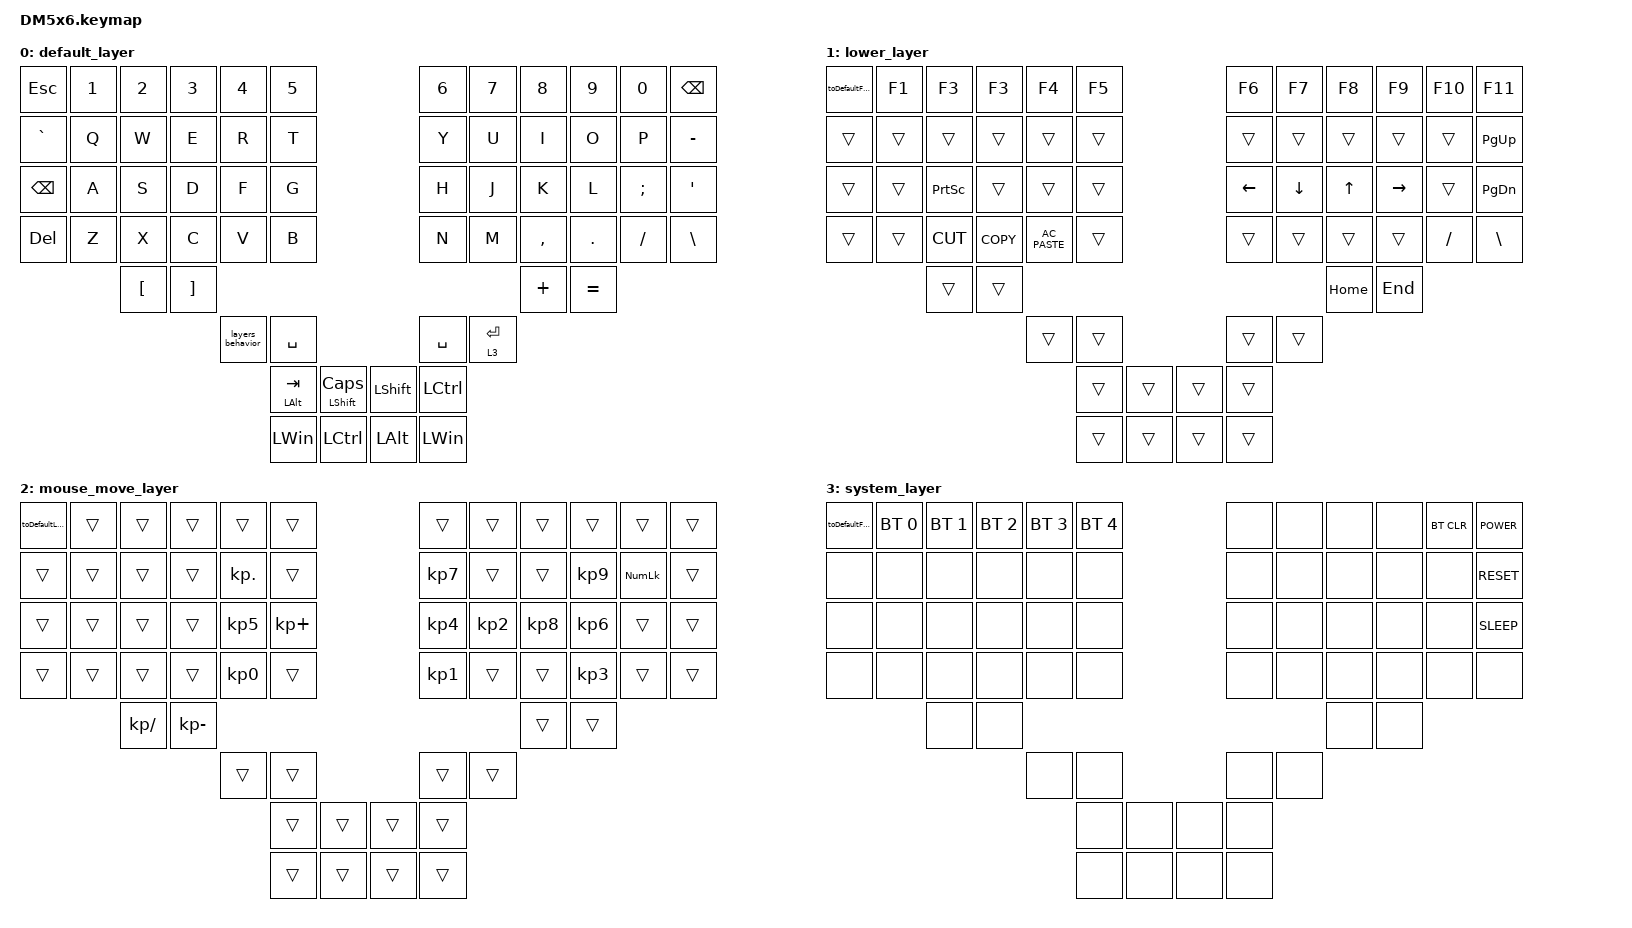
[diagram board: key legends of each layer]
#include <behaviors.dtsi>
#include <dt-bindings/zmk/bt.h>
#include <dt-bindings/zmk/keys.h>

#define DEFAULT 0
#define LWR 1
#define RSE 2
#define ADJ 3

/ {
    conditional_layers { compatible = "zmk,conditional-layers"; };

    behaviors {
        layers_behavior: layers_behavior {
            compatible = "zmk,behavior-tap-dance";
            label = "LAYERS_BEHAVIOR";
            #binding-cells = <0>;
            bindings = <&tog 1>, <&tog 2>;
        };

        delBackspace_behavior: delBackspace_behavior {
            compatible = "zmk,behavior-mod-morph";
            label = "DELBACKSPACE_BEHAVIOR";
            bindings = <&kp DEL>, <&kp BACKSPACE>;

            #binding-cells = <0>;
            mods = <(MOD_LSFT)>;
        };

        toDefaultFromLowerLayer: toDefaultFromLowerLayer {
            compatible = "zmk,behavior-tap-dance";
            label = "TODEFAULTFROMLOWERLAYER";
            #binding-cells = <0>;
            bindings = <&kp F12>, <&to 0>;
        };

        toDefaultLayer: toDefaultLayer {
            compatible = "zmk,behavior-tap-dance";
            label = "TODEFAULTLAYER";
            #binding-cells = <0>;
            bindings = <&none>, <&to 0>;
        };

        toDefaultFromSystemLayer: toDefaultFromSystemLayer {
            compatible = "zmk,behavior-tap-dance";
            label = "TODEFAULTFROMSYSTEMLAYER";
            #binding-cells = <0>;
            bindings = <&bt BT_CLR>, <&to 0>;
        };
    };

    keymap {
        compatible = "zmk,keymap";

        default_layer {
            bindings = <
&kp ESC        &kp N1  &kp N2    &kp N3    &kp N4            &kp N5                                             &kp N6        &kp N7       &kp N8     &kp N9     &kp N0    &kp BSPC
&kp GRAVE      &kp Q   &kp W     &kp E     &kp R             &kp T                                              &kp Y         &kp U        &kp I      &kp O      &kp P     &kp MINUS
&kp BACKSPACE  &kp A   &kp S     &kp D     &kp F             &kp G                                              &kp H         &kp J        &kp K      &kp L      &kp SEMI  &kp SQT
&kp DELETE     &kp Z   &kp X     &kp C     &kp V             &kp B                                              &kp N         &kp M        &kp COMMA  &kp DOT    &kp FSLH  &kp BSLH
                       &kp LBKT  &kp RBKT                                                                                                  &kp PLUS   &kp EQUAL
                                           &layers_behavior  &kp SPACE                                          &kp SPACE     &lt 3 ENTER
                                                             &mt LALT TAB  &mt LEFT_SHIFT CAPS  &kp LEFT_SHIFT  &kp LCTRL
                                                             &kp LEFT_WIN  &kp LCTRL            &kp LALT        &kp LEFT_WIN
            >;
        };

        lower_layer {
            bindings = <
&toDefaultFromLowerLayer  &kp F1  &kp F3           &kp F3      &kp F4          &kp F5                  &kp F6          &kp F7          &kp F8        &kp F9           &kp F10    &kp F11
&trans                    &trans  &trans           &trans      &trans          &trans                  &trans          &trans          &trans        &trans           &trans     &kp PAGE_UP
&trans                    &trans  &kp PRINTSCREEN  &trans      &trans          &trans                  &kp LEFT_ARROW  &kp DOWN_ARROW  &kp UP_ARROW  &kp RIGHT_ARROW  &trans     &kp PAGE_DOWN
&trans                    &trans  &kp K_CUT        &kp K_COPY  &kp C_AC_PASTE  &trans                  &trans          &trans          &trans        &trans           &kp SLASH  &kp BSLH
                                  &trans           &trans                                                                              &kp HOME      &kp END
                                                               &trans          &trans                  &trans          &trans
                                                                               &trans  &trans  &trans  &trans
                                                                               &trans  &trans  &trans  &trans
            >;
        };

        mouse_move_layer {
            bindings = <
&toDefaultLayer  &trans  &trans        &trans        &trans      &trans                       &trans     &trans     &trans     &trans     &trans          &trans
&trans           &trans  &trans        &trans        &kp KP_DOT  &trans                       &kp KP_N7  &trans     &trans     &kp KP_N9  &kp KP_NUMLOCK  &trans
&trans           &trans  &trans        &trans        &kp KP_N5   &kp KP_PLUS                  &kp KP_N4  &kp KP_N2  &kp KP_N8  &kp KP_N6  &trans          &trans
&trans           &trans  &trans        &trans        &kp KP_N0   &trans                       &kp KP_N1  &trans     &trans     &kp KP_N3  &trans          &trans
                         &kp KP_SLASH  &kp KP_MINUS                                                                 &trans     &trans
                                                     &trans      &trans                       &trans     &trans
                                                                 &trans       &trans  &trans  &trans
                                                                 &trans       &trans  &trans  &trans
            >;
        };

        system_layer {
            bindings = <
&toDefaultFromSystemLayer  &bt BT_SEL 0  &bt BT_SEL 1  &bt BT_SEL 2  &bt BT_SEL 3  &bt BT_SEL 4                &none  &none  &none  &none  &bt BT_CLR  &kp C_POWER
&none                      &none         &none         &none         &none         &none                       &none  &none  &none  &none  &none       &kp C_RESET
&none                      &none         &none         &none         &none         &none                       &none  &none  &none  &none  &none       &kp C_SLEEP
&none                      &none         &none         &none         &none         &none                       &none  &none  &none  &none  &none       &none
                                         &none         &none                                                                 &none  &none
                                                                     &none         &none                       &none  &none
                                                                                   &none         &none  &none  &none
                                                                                   &none         &none  &none  &none
            >;
        };
    };
};
